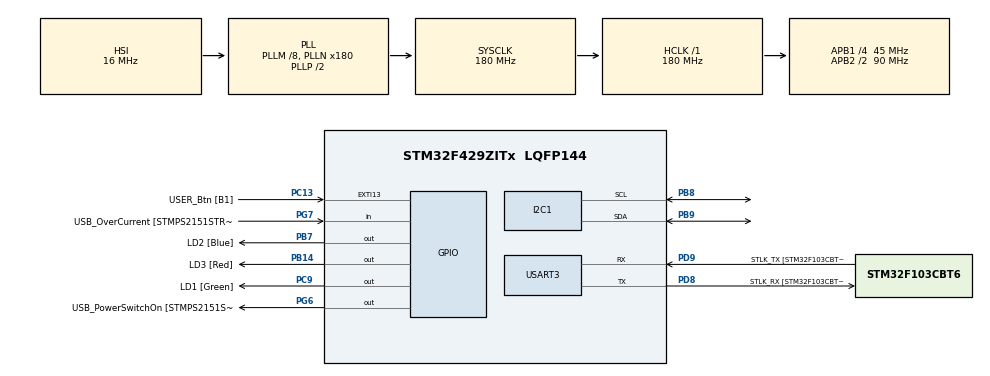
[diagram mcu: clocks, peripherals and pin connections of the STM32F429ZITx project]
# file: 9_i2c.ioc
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Mcu.Family=STM32F4
Mcu.Name=STM32F429ZITx
Mcu.Package=LQFP144
NVIC.PriorityGroup=NVIC_PRIORITYGROUP_4
PA1.GPIO_Label=RMII_REF_CLK [LAN8742A-CZ-TR_REFCLK0]
PA1.Signal=ETH_REF_CLK
PA10.GPIO_Label=USB_ID
PA10.Signal=USB_OTG_FS_ID
PA11.GPIO_Label=USB_DM
PA11.Signal=USB_OTG_FS_DM
PA12.GPIO_Label=USB_DP
PA12.Signal=USB_OTG_FS_DP
PA13.GPIO_Label=TMS
PA13.Mode=Serial_Wire
PA13.Signal=SYS_JTMS-SWDIO
PA14.GPIO_Label=TCK
PA14.Mode=Serial_Wire
PA14.Signal=SYS_JTCK-SWCLK
PA2.GPIO_Label=RMII_MDIO [LAN8742A-CZ-TR_MDIO]
PA2.Signal=ETH_MDIO
PA7.GPIO_Label=RMII_CRS_DV [LAN8742A-CZ-TR_CRS_DV]
PA7.Signal=ETH_CRS_DV
PA8.GPIO_Label=USB_SOF [TP1]
PA8.Signal=USB_OTG_FS_SOF
PA9.GPIO_Label=USB_VBUS
PA9.Signal=USB_OTG_FS_VBUS
PB13.GPIO_Label=RMII_TXD1 [LAN8742A-CZ-TR_TXD1]
PB13.Signal=ETH_TXD1
PB14.GPIO_Label=LD3 [Red]
PB14.Signal=GPIO_Output
PB7.GPIO_Label=LD2 [Blue]
PB7.Signal=GPIO_Output
PB8.Mode=I2C
PB8.Signal=I2C1_SCL
PB9.Mode=I2C
PB9.Signal=I2C1_SDA
PC1.GPIO_Label=RMII_MDC [LAN8742A-CZ-TR_MDC]
PC1.Signal=ETH_MDC
PC13.GPIO_Label=USER_Btn [B1]
PC13.Signal=GPXTI13
PC14/OSC32_IN.Mode=LSE-External-Oscillator
PC14/OSC32_IN.Signal=RCC_OSC32_IN
PC15/OSC32_OUT.Mode=LSE-External-Oscillator
PC15/OSC32_OUT.Signal=RCC_OSC32_OUT
PC4.GPIO_Label=RMII_RXD0 [LAN8742A-CZ-TR_RXD0]
PC4.Signal=ETH_RXD0
PC5.GPIO_Label=RMII_RXD1 [LAN8742A-CZ-TR_RXD1]
PC5.Signal=ETH_RXD1
PC9.GPIO_Label=LD1 [Green]
PC9.Signal=GPIO_Output
PD8.GPIO_Label=STLK_RX [STM32F103CBT6_PA3]
PD8.Mode=Asynchronous
PD8.Signal=USART3_TX
PD9.GPIO_Label=STLK_TX [STM32F103CBT6_PA2]
PD9.Mode=Asynchronous
PD9.Signal=USART3_RX
PG11.GPIO_Label=RMII_TX_EN [LAN8742A-CZ-TR_TXEN]
PG11.Signal=ETH_TX_EN
PG13.GPIO_Label=RMII_TXD0 [LAN8742A-CZ-TR_TXD0]
PG13.Signal=ETH_TXD0
PG6.GPIO_Label=USB_PowerSwitchOn [STMPS2151STR_EN]
PG6.Signal=GPIO_Output
PG7.GPIO_Label=USB_OverCurrent [STMPS2151STR_FAULT]
PG7.Signal=GPIO_Input
PH0/OSC_IN.GPIO_Label=MCO [STM32F103CBT6_PA8]
PH0/OSC_IN.Signal=RCC_OSC_IN
ProjectManager.HeapSize=0x200
ProjectManager.StackSize=0x400
ProjectManager.TargetToolchain=STM32CubeIDE
RCC.48MHZClocksFreq_Value=51428571.428571425
RCC.AHBFreq_Value=180000000
RCC.APB1CLKDivider=RCC_HCLK_DIV4
RCC.APB1Freq_Value=45000000
RCC.APB1TimFreq_Value=90000000
RCC.APB2CLKDivider=RCC_HCLK_DIV2
RCC.APB2Freq_Value=90000000
RCC.APB2TimCLKDivider=2
RCC.APB2TimFreq_Value=180000000
RCC.CortexFreq_Value=180000000
RCC.HCLKFreq_Value=180000000
RCC.HSE_VALUE=8000000
RCC.HSI_VALUE=16000000
RCC.PLLM=8
RCC.PLLMUL=RCC_PLL_MUL9
RCC.PLLN=180
RCC.PLLQ=7
RCC.PRESCALERUSB=RCC_USBCLKSOURCE_PLL_DIV1_5
RCC.RCC_RTC_Clock_Source=RCC_RTCCLKSOURCE_LSE
RCC.SYSCLKFreq_VALUE=180000000
RCC.SYSCLKSource=RCC_SYSCLKSOURCE_PLLCLK
RCC.SYSCLKSourceVirtual=RCC_SYSCLKSOURCE_PLLCLK
RCC.USBFreq_Value=48000000
RCC.VCOOutputFreq_Value=360000000
USART3.VirtualMode=VM_ASYNC
VP_RTC_VS_RTC_Activate.Mode=RTC_Enabled
board=NUCLEO-F429ZI

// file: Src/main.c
/* USER CODE BEGIN Header */
/**
  ******************************************************************************
  * @file           : main.c
  * @brief          : Main program body
  ******************************************************************************
  * @attention
  *
  * <h2><center>&copy; Copyright (c) 2020 STMicroelectronics.
  * All rights reserved.</center></h2>
  *
  * This software component is licensed by ST under BSD 3-Clause license,
  * the "License"; You may not use this file except in compliance with the
  * License. You may obtain a copy of the License at:
  *                        opensource.org/licenses/BSD-3-Clause
  *
  ******************************************************************************
  */
/* USER CODE END Header */

#include "main.h"

I2C_HandleTypeDef hi2c1;

RTC_HandleTypeDef hrtc;

UART_HandleTypeDef huart3;

void SystemClock_Config(void);
static void MX_GPIO_Init(void);
static void MX_USART3_UART_Init(void);
static void MX_RTC_Init(void);
static void MX_I2C1_Init(void);

/* USER CODE BEGIN 0 */
//#define MASTER_BOARD
#define I2C_ADDRESS 0x80
#define BUF_SIZE 30
uint8_t i2c_txbuf[BUF_SIZE] ="I2C Master Data based on Polling mode";
uint8_t i2c_rxbuf[BUF_SIZE];
uint8_t uart_buf[BUF_SIZE];

/* USER CODE END 0 */

int main(void)
{

  /* MCU Configuration--------------------------------------------------------*/

  /* Reset of all peripherals, Initializes the Flash interface and the Systick. */
  HAL_Init();

  /* Configure the system clock */
  SystemClock_Config();

  /* Initialize all configured peripherals */
  MX_GPIO_Init();
  MX_USART3_UART_Init();
  MX_RTC_Init();
  MX_I2C1_Init();
  /* USER CODE BEGIN 2 */
#ifdef MASTER_BOARD
  while(HAL_GPIO_ReadPin(GPIOC, GPIO_PIN_13)==GPIO_PIN_RESET)
  {
  }

  memset(uart_buf,0,BUF_SIZE);
  sprintf(uart_buf,"I2C Master Transmit\r\n");
  HAL_UART_Transmit(&huart3,uart_buf,sizeof(uart_buf),1000);

  if(HAL_I2C_Master_Transmit(&hi2c1, (uint16_t)I2C_ADDRESS, (uint8_t*)i2c_txbuf, BUF_SIZE, 10000)!= HAL_OK)
  {
    memset(uart_buf,0,BUF_SIZE);
    sprintf(uart_buf,"I2C error %x\r\n",HAL_I2C_GetError(&hi2c1));
    HAL_UART_Transmit(&huart3,uart_buf,sizeof(uart_buf),1000);
  }

#else
	memset(uart_buf,0,BUF_SIZE);
	sprintf(uart_buf,"I2C Slave Receive\r\n");
    HAL_UART_Transmit(&huart3,uart_buf,sizeof(uart_buf),1000);

	if(HAL_I2C_Slave_Receive(&hi2c1, (uint8_t*)i2c_rxbuf, BUF_SIZE, 10000)!= HAL_OK)
	{
	  memset(uart_buf,0,BUF_SIZE);
	  sprintf(uart_buf,"I2C error %x\r\n",HAL_I2C_GetError(&hi2c1));
	  HAL_UART_Transmit(&huart3,uart_buf,sizeof(uart_buf),1000);
	}
	else
	{
	  memset(uart_buf,0,BUF_SIZE);
	  sprintf(uart_buf,"received data ->%s",i2c_rxbuf);
	  HAL_UART_Transmit(&huart3,uart_buf,sizeof(uart_buf),1000);
	}
#endif
  /* USER CODE END 2 */

  /* Infinite loop */
  while (1)
  {

  }
}

void SystemClock_Config(void)
{
  RCC_OscInitTypeDef RCC_OscInitStruct = {0};
  RCC_ClkInitTypeDef RCC_ClkInitStruct = {0};
  RCC_PeriphCLKInitTypeDef PeriphClkInitStruct = {0};

  /** Configure the main internal regulator output voltage
  */
  __HAL_RCC_PWR_CLK_ENABLE();
  __HAL_PWR_VOLTAGESCALING_CONFIG(PWR_REGULATOR_VOLTAGE_SCALE1);
  /** Initializes the CPU, AHB and APB busses clocks
  */
  RCC_OscInitStruct.OscillatorType = RCC_OSCILLATORTYPE_HSI|RCC_OSCILLATORTYPE_LSE;
  RCC_OscInitStruct.LSEState = RCC_LSE_ON;
  RCC_OscInitStruct.HSIState = RCC_HSI_ON;
  RCC_OscInitStruct.HSICalibrationValue = RCC_HSICALIBRATION_DEFAULT;
  RCC_OscInitStruct.PLL.PLLState = RCC_PLL_ON;
  RCC_OscInitStruct.PLL.PLLSource = RCC_PLLSOURCE_HSI;
  RCC_OscInitStruct.PLL.PLLM = 8;
  RCC_OscInitStruct.PLL.PLLN = 180;
  RCC_OscInitStruct.PLL.PLLP = RCC_PLLP_DIV2;
  RCC_OscInitStruct.PLL.PLLQ = 7;
  if (HAL_RCC_OscConfig(&RCC_OscInitStruct) != HAL_OK)
  {
    Error_Handler();
  }
  /** Activate the Over-Drive mode
  */
  if (HAL_PWREx_EnableOverDrive() != HAL_OK)
  {
    Error_Handler();
  }
  /** Initializes the CPU, AHB and APB busses clocks
  */
  RCC_ClkInitStruct.ClockType = RCC_CLOCKTYPE_HCLK|RCC_CLOCKTYPE_SYSCLK
                              |RCC_CLOCKTYPE_PCLK1|RCC_CLOCKTYPE_PCLK2;
  RCC_ClkInitStruct.SYSCLKSource = RCC_SYSCLKSOURCE_PLLCLK;
  RCC_ClkInitStruct.AHBCLKDivider = RCC_SYSCLK_DIV1;
  RCC_ClkInitStruct.APB1CLKDivider = RCC_HCLK_DIV4;
  RCC_ClkInitStruct.APB2CLKDivider = RCC_HCLK_DIV2;

  if (HAL_RCC_ClockConfig(&RCC_ClkInitStruct, FLASH_LATENCY_5) != HAL_OK)
  {
    Error_Handler();
  }
  PeriphClkInitStruct.PeriphClockSelection = RCC_PERIPHCLK_RTC;
  PeriphClkInitStruct.RTCClockSelection = RCC_RTCCLKSOURCE_LSE;
  if (HAL_RCCEx_PeriphCLKConfig(&PeriphClkInitStruct) != HAL_OK)
  {
    Error_Handler();
  }
}

static void MX_I2C1_Init(void)
{

  hi2c1.Instance = I2C1;
  hi2c1.Init.ClockSpeed = 100000;
  hi2c1.Init.DutyCycle = I2C_DUTYCYCLE_2;
  hi2c1.Init.OwnAddress1 = 0;
  hi2c1.Init.AddressingMode = I2C_ADDRESSINGMODE_7BIT;
  hi2c1.Init.DualAddressMode = I2C_DUALADDRESS_DISABLE;
  hi2c1.Init.OwnAddress2 = 0;
  hi2c1.Init.GeneralCallMode = I2C_GENERALCALL_DISABLE;
  hi2c1.Init.NoStretchMode = I2C_NOSTRETCH_DISABLE;
  if (HAL_I2C_Init(&hi2c1) != HAL_OK)
  {
    Error_Handler();
  }
  /** Configure Analogue filter
  */
  if (HAL_I2CEx_ConfigAnalogFilter(&hi2c1, I2C_ANALOGFILTER_ENABLE) != HAL_OK)
  {
    Error_Handler();
  }
  /** Configure Digital filter
  */
  if (HAL_I2CEx_ConfigDigitalFilter(&hi2c1, 0) != HAL_OK)
  {
    Error_Handler();
  }

}

static void MX_RTC_Init(void)
{

  /** Initialize RTC Only
  */
  hrtc.Instance = RTC;
  hrtc.Init.HourFormat = RTC_HOURFORMAT_24;
  hrtc.Init.AsynchPrediv = 127;
  hrtc.Init.SynchPrediv = 255;
  hrtc.Init.OutPut = RTC_OUTPUT_DISABLE;
  hrtc.Init.OutPutPolarity = RTC_OUTPUT_POLARITY_HIGH;
  hrtc.Init.OutPutType = RTC_OUTPUT_TYPE_OPENDRAIN;
  if (HAL_RTC_Init(&hrtc) != HAL_OK)
  {
    Error_Handler();
  }

}

static void MX_USART3_UART_Init(void)
{

  huart3.Instance = USART3;
  huart3.Init.BaudRate = 115200;
  huart3.Init.WordLength = UART_WORDLENGTH_8B;
  huart3.Init.StopBits = UART_STOPBITS_1;
  huart3.Init.Parity = UART_PARITY_NONE;
  huart3.Init.Mode = UART_MODE_TX_RX;
  huart3.Init.HwFlowCtl = UART_HWCONTROL_NONE;
  huart3.Init.OverSampling = UART_OVERSAMPLING_16;
  if (HAL_UART_Init(&huart3) != HAL_OK)
  {
    Error_Handler();
  }

}

static void MX_GPIO_Init(void)
{
  GPIO_InitTypeDef GPIO_InitStruct = {0};

  /* GPIO Ports Clock Enable */
  __HAL_RCC_GPIOC_CLK_ENABLE();
  __HAL_RCC_GPIOH_CLK_ENABLE();
  __HAL_RCC_GPIOA_CLK_ENABLE();
  __HAL_RCC_GPIOB_CLK_ENABLE();
  __HAL_RCC_GPIOD_CLK_ENABLE();
  __HAL_RCC_GPIOG_CLK_ENABLE();

  /*Configure GPIO pin Output Level */
  HAL_GPIO_WritePin(GPIOB, LD3_Pin|LD2_Pin, GPIO_PIN_RESET);

  /*Configure GPIO pin Output Level */
  HAL_GPIO_WritePin(USB_PowerSwitchOn_GPIO_Port, USB_PowerSwitchOn_Pin, GPIO_PIN_RESET);

  /*Configure GPIO pin Output Level */
  HAL_GPIO_WritePin(LD1_GPIO_Port, LD1_Pin, GPIO_PIN_RESET);

  /*Configure GPIO pin : USER_Btn_Pin */
  GPIO_InitStruct.Pin = USER_Btn_Pin;
  GPIO_InitStruct.Mode = GPIO_MODE_IT_RISING;
  GPIO_InitStruct.Pull = GPIO_NOPULL;
  HAL_GPIO_Init(USER_Btn_GPIO_Port, &GPIO_InitStruct);

  /*Configure GPIO pins : RMII_MDC_Pin RMII_RXD0_Pin RMII_RXD1_Pin */
  GPIO_InitStruct.Pin = RMII_MDC_Pin|RMII_RXD0_Pin|RMII_RXD1_Pin;
  GPIO_InitStruct.Mode = GPIO_MODE_AF_PP;
  GPIO_InitStruct.Pull = GPIO_NOPULL;
  GPIO_InitStruct.Speed = GPIO_SPEED_FREQ_VERY_HIGH;
  GPIO_InitStruct.Alternate = GPIO_AF11_ETH;
  HAL_GPIO_Init(GPIOC, &GPIO_InitStruct);

  /*Configure GPIO pins : RMII_REF_CLK_Pin RMII_MDIO_Pin RMII_CRS_DV_Pin */
  GPIO_InitStruct.Pin = RMII_REF_CLK_Pin|RMII_MDIO_Pin|RMII_CRS_DV_Pin;
  GPIO_InitStruct.Mode = GPIO_MODE_AF_PP;
  GPIO_InitStruct.Pull = GPIO_NOPULL;
  GPIO_InitStruct.Speed = GPIO_SPEED_FREQ_VERY_HIGH;
  GPIO_InitStruct.Alternate = GPIO_AF11_ETH;
  HAL_GPIO_Init(GPIOA, &GPIO_InitStruct);

  /*Configure GPIO pin : RMII_TXD1_Pin */
  GPIO_InitStruct.Pin = RMII_TXD1_Pin;
  GPIO_InitStruct.Mode = GPIO_MODE_AF_PP;
  GPIO_InitStruct.Pull = GPIO_NOPULL;
  GPIO_InitStruct.Speed = GPIO_SPEED_FREQ_VERY_HIGH;
  GPIO_InitStruct.Alternate = GPIO_AF11_ETH;
  HAL_GPIO_Init(RMII_TXD1_GPIO_Port, &GPIO_InitStruct);

  /*Configure GPIO pins : LD3_Pin LD2_Pin */
  GPIO_InitStruct.Pin = LD3_Pin|LD2_Pin;
  GPIO_InitStruct.Mode = GPIO_MODE_OUTPUT_PP;
  GPIO_InitStruct.Pull = GPIO_NOPULL;
  GPIO_InitStruct.Speed = GPIO_SPEED_FREQ_LOW;
  HAL_GPIO_Init(GPIOB, &GPIO_InitStruct);

  /*Configure GPIO pin : USB_PowerSwitchOn_Pin */
  GPIO_InitStruct.Pin = USB_PowerSwitchOn_Pin;
  GPIO_InitStruct.Mode = GPIO_MODE_OUTPUT_PP;
  GPIO_InitStruct.Pull = GPIO_NOPULL;
  GPIO_InitStruct.Speed = GPIO_SPEED_FREQ_LOW;
  HAL_GPIO_Init(USB_PowerSwitchOn_GPIO_Port, &GPIO_InitStruct);

  /*Configure GPIO pin : USB_OverCurrent_Pin */
  GPIO_InitStruct.Pin = USB_OverCurrent_Pin;
  GPIO_InitStruct.Mode = GPIO_MODE_INPUT;
  GPIO_InitStruct.Pull = GPIO_NOPULL;
  HAL_GPIO_Init(USB_OverCurrent_GPIO_Port, &GPIO_InitStruct);

  /*Configure GPIO pin : LD1_Pin */
  GPIO_InitStruct.Pin = LD1_Pin;
  GPIO_InitStruct.Mode = GPIO_MODE_OUTPUT_PP;
  GPIO_InitStruct.Pull = GPIO_NOPULL;
  GPIO_InitStruct.Speed = GPIO_SPEED_FREQ_LOW;
  HAL_GPIO_Init(LD1_GPIO_Port, &GPIO_InitStruct);

  /*Configure GPIO pins : USB_SOF_Pin USB_ID_Pin USB_DM_Pin USB_DP_Pin */
  GPIO_InitStruct.Pin = USB_SOF_Pin|USB_ID_Pin|USB_DM_Pin|USB_DP_Pin;
  GPIO_InitStruct.Mode = GPIO_MODE_AF_PP;
  GPIO_InitStruct.Pull = GPIO_NOPULL;
  GPIO_InitStruct.Speed = GPIO_SPEED_FREQ_VERY_HIGH;
  GPIO_InitStruct.Alternate = GPIO_AF10_OTG_FS;
  HAL_GPIO_Init(GPIOA, &GPIO_InitStruct);

  /*Configure GPIO pin : USB_VBUS_Pin */
  GPIO_InitStruct.Pin = USB_VBUS_Pin;
  GPIO_InitStruct.Mode = GPIO_MODE_INPUT;
  GPIO_InitStruct.Pull = GPIO_NOPULL;
  HAL_GPIO_Init(USB_VBUS_GPIO_Port, &GPIO_InitStruct);

  /*Configure GPIO pins : RMII_TX_EN_Pin RMII_TXD0_Pin */
  GPIO_InitStruct.Pin = RMII_TX_EN_Pin|RMII_TXD0_Pin;
  GPIO_InitStruct.Mode = GPIO_MODE_AF_PP;
  GPIO_InitStruct.Pull = GPIO_NOPULL;
  GPIO_InitStruct.Speed = GPIO_SPEED_FREQ_VERY_HIGH;
  GPIO_InitStruct.Alternate = GPIO_AF11_ETH;
  HAL_GPIO_Init(GPIOG, &GPIO_InitStruct);

}

void Error_Handler(void)
{
}

/************************ (C) COPYRIGHT STMicroelectronics *****END OF FILE****/
